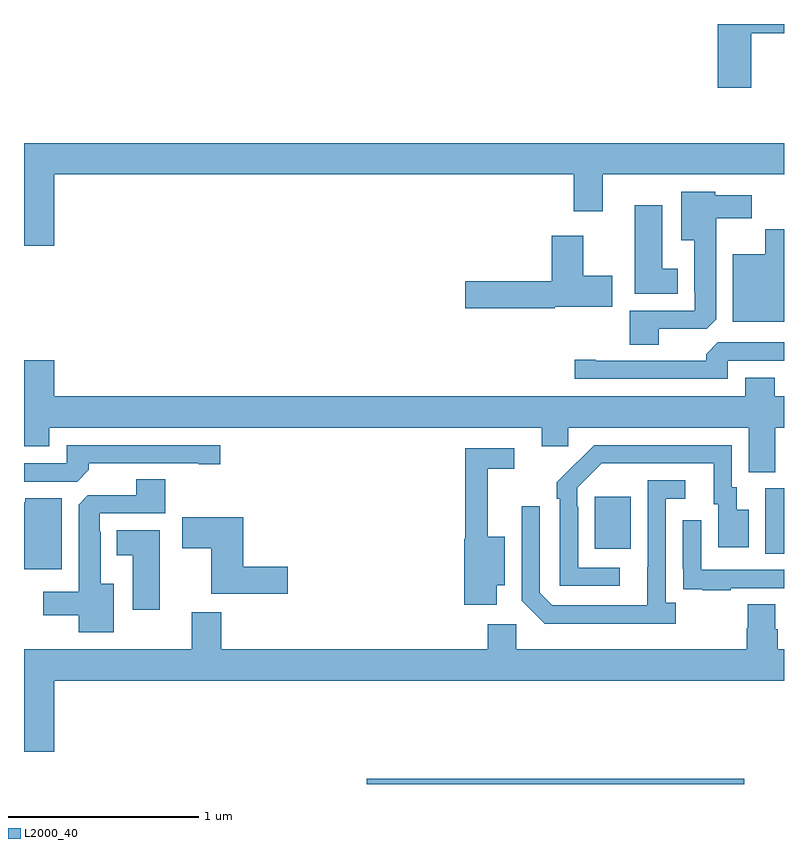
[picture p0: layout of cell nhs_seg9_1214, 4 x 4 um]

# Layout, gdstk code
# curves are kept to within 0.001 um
import gdstk
lib = gdstk.Library(unit=1e-6, precision=1e-09)
def R(c, l, rs):  # rectangles x0, y0, x1, y1
    for r in rs: c.add(gdstk.rectangle(r[:2], r[2:], *l))
def P(c, l, *ps):  # polygons
    for p in ps: c.add(gdstk.Polygon(p, *l))
L2000_40 = (2000, 40)

nhs_seg9_1214 = lib.new_cell('nhs_seg9_1214')
R(nhs_seg9_1214, L2000_40, [(178.805,1238.5,180.79,1238.528), (180.902,1239.712,181,1240.056), (180.005,1239.737,180.193,1240.012)])
P(nhs_seg9_1214, L2000_40, [(180.828,1242.451),(181,1242.451),(181,1242.5),(180.65,1242.5),(180.65,1242.165),(180.828,1242.165)],
  [(177.16,1241.708),(179.894,1241.708),(179.894,1241.514),(180.046,1241.514),(180.046,1241.708),(181,1241.708),(181,1241.872),(177,1241.872),(177,1241.334),(177.16,1241.334)],
  [(180.34,1240.896),(180.594,1240.896),(180.643,1240.945),(180.643,1241.477),(180.829,1241.477),(180.829,1241.599),(180.639,1241.599),(180.639,1241.617),(180.458,1241.617),(180.458,1241.363),(180.527,1241.363),(180.527,1241.089),(180.531,1241.089),(180.531,1240.992),(180.188,1240.992),(180.188,1240.813),(180.34,1240.813)],
  [(180.442,1241.212),(180.358,1241.212),(180.358,1241.545),(180.215,1241.545),(180.215,1241.081),(180.442,1241.081)],
  [(181,1241.419),(180.902,1241.419),(180.902,1241.287),(180.731,1241.287),(180.731,1240.934),(181,1240.934)],
  [(179.793,1241.012),(180.097,1241.012),(180.097,1241.175),(179.944,1241.175),(179.944,1241.386),(179.777,1241.386),(179.777,1241.147),(179.322,1241.147),(179.322,1241.005),(179.793,1241.005)],
  [(180.705,1240.728),(181,1240.728),(181,1240.824),(180.651,1240.824),(180.59,1240.762),(180.59,1240.728),(180.01,1240.728),(180.01,1240.733),(179.898,1240.733),(179.898,1240.632),(180.705,1240.632)],
  [(180.955,1240.376),(181,1240.376),(181,1240.54),(180.95,1240.54),(180.95,1240.639),(180.797,1240.639),(180.797,1240.54),(177.16,1240.54),(177.16,1240.729),(177,1240.729),(177,1240.277),(177.133,1240.277),(177.133,1240.376),(179.726,1240.376),(179.726,1240.278),(179.865,1240.278),(179.865,1240.376),(180.815,1240.376),(180.815,1240.141),(180.955,1240.141)],
  [(177.341,1240.154),(177.341,1240.188),(177.92,1240.188),(177.92,1240.183),(178.033,1240.183),(178.033,1240.284),(177.225,1240.284),(177.225,1240.188),(177,1240.188),(177,1240.092),(177.279,1240.092)],
  [(180.136,1239.639),(179.916,1239.639),(179.916,1239.959),(179.913,1239.959),(179.913,1240.059),(180.042,1240.188),(180.629,1240.188),(180.629,1239.972),(180.653,1239.972),(180.653,1239.747),(180.814,1239.747),(180.814,1239.943),(180.751,1239.943),(180.751,1240.062),(180.726,1240.062),(180.726,1240.284),(180.002,1240.284),(179.805,1240.089),(179.805,1240.001),(179.82,1240.001),(179.82,1239.543),(180.136,1239.543)],
  [(179.488,1239.545),(179.53,1239.545),(179.53,1239.802),(179.441,1239.802),(179.441,1240.158),(179.581,1240.158),(179.581,1240.266),(179.323,1240.266),(179.323,1239.792),(179.318,1239.792),(179.318,1239.444),(179.488,1239.444)],
  [(177.472,1239.553),(177.403,1239.553),(177.403,1239.827),(177.399,1239.827),(177.399,1239.924),(177.743,1239.924),(177.743,1240.103),(177.59,1240.103),(177.59,1240.02),(177.336,1240.02),(177.287,1239.971),(177.287,1239.511),(177.102,1239.511),(177.102,1239.389),(177.287,1239.389),(177.287,1239.299),(177.472,1239.299)],
  [(180.43,1239.454),(180.378,1239.454),(180.378,1240.002),(180.481,1240.002),(180.481,1240.098),(180.282,1240.098),(180.281,1239.441),(179.781,1239.441),(179.715,1239.507),(179.715,1239.961),(179.619,1239.961),(179.619,1239.465),(179.74,1239.344),(180.43,1239.344)],
  [(177.199,1240.003),(177.006,1240.003),(177.006,1239.982),(177,1239.982),(177,1239.629),(177.199,1239.629)],
  [(178.387,1239.644),(178.154,1239.644),(178.154,1239.904),(177.834,1239.904),(177.834,1239.742),(177.986,1239.742),(177.986,1239.502),(178.387,1239.502)],
  [(180.719,1239.531),(181,1239.531),(181,1239.627),(180.564,1239.627),(180.564,1239.889),(180.468,1239.889),(180.468,1239.634),(180.469,1239.634),(180.469,1239.525),(180.571,1239.525),(180.571,1239.519),(180.719,1239.519)],
  [(177.715,1239.835),(177.488,1239.835),(177.488,1239.704),(177.572,1239.704),(177.572,1239.417),(177.715,1239.417)],
  [(177.16,1239.044),(181,1239.044),(181,1239.208),(180.968,1239.208),(180.968,1239.314),(180.955,1239.314),(180.955,1239.446),(180.808,1239.446),(180.808,1239.321),(180.803,1239.321),(180.803,1239.208),(179.592,1239.208),(179.592,1239.34),(179.441,1239.34),(179.441,1239.208),(178.037,1239.208),(178.037,1239.403),(177.884,1239.403),(177.884,1239.208),(177,1239.208),(177,1238.67),(177.16,1238.67)])

lib.write_gds('nhs_seg9_1214.gds')
